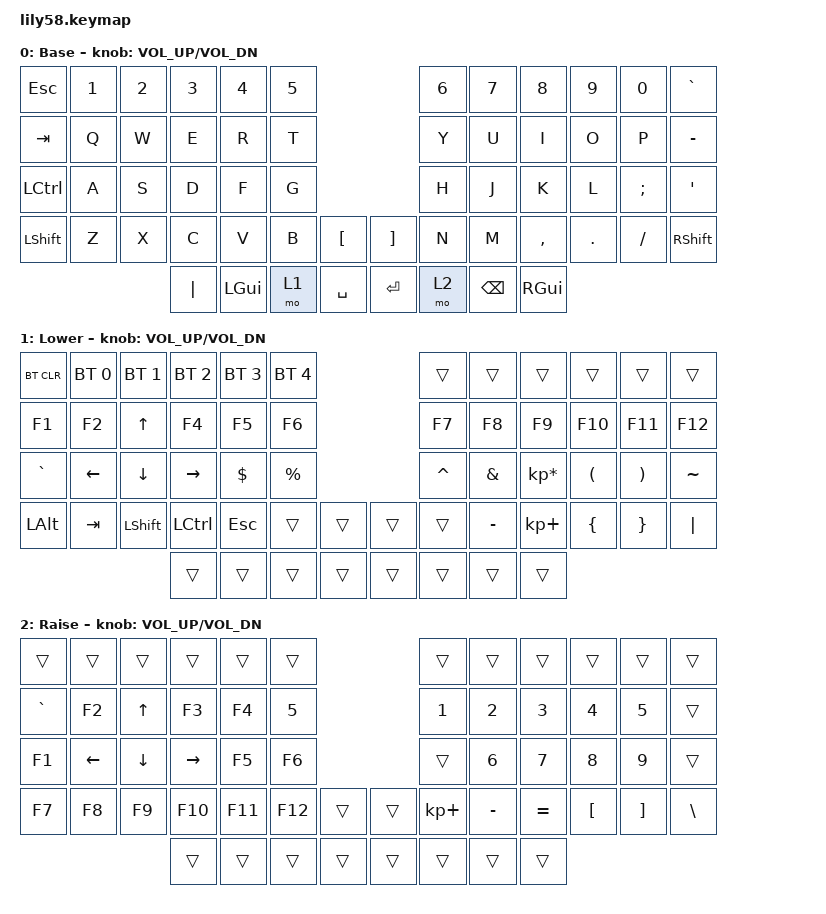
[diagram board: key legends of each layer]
/*
 * Copyright (c) 2020 The ZMK Contributors
 *
 * SPDX-License-Identifier: MIT
 */

#include <behaviors.dtsi>
#include <dt-bindings/zmk/bt.h>
#include <dt-bindings/zmk/keys.h>

/ {
    keymap {
        compatible = "zmk,keymap";

        default_layer {
            // ------------------------------------------------------------------------------------------------------------
            // |  ESC  |  1  |  2  |  3   |  4   |  5   |                   |  6   |  7    |  8    |  9   |   0   |   `   |
            // |  TAB  |  Q  |  W  |  E   |  R   |  T   |                   |  Y   |  U    |  I    |  O   |   P   |   -   |
            // |  CTRL |  A  |  S  |  D   |  F   |  G   |                   |  H   |  J    |  K    |  L   |   ;   |   '   |
            // | SHIFT |  Z  |  X  |  C   |  V   |  B   |   "["  |  |  "]"  |  N   |  M    |  ,    |  .   |   /   | SHIFT |
            //                     | ALT  | GUI  | LOWER|  SPACE |  | ENTER | RAISE| BSPC  | GUI   |

            display-name = "Base";
            bindings = <
&kp ESCAPE        &kp N1  &kp N2  &kp N3    &kp N4    &kp N5                         &kp N6  &kp N7    &kp N8     &kp N9   &kp N0    &kp GRAVE
&kp TAB           &kp Q   &kp W   &kp E     &kp R     &kp T                          &kp Y   &kp U     &kp I      &kp O    &kp P     &kp MINUS
&kp LEFT_CONTROL  &kp A   &kp S   &kp D     &kp F     &kp G                          &kp H   &kp J     &kp K      &kp L    &kp SEMI  &kp SQT
&kp LEFT_SHIFT    &kp Z   &kp X   &kp C     &kp V     &kp B   &kp LBKT     &kp RBKT  &kp N   &kp M     &kp COMMA  &kp DOT  &kp FSLH  &kp RSHFT
                                  &kp PIPE  &kp LGUI  &mo 1   &kp SPACE    &kp RET   &mo 2   &kp BSPC  &kp RGUI
            >;

            sensor-bindings = <&inc_dec_kp C_VOL_UP C_VOL_DN>;
        };

        lower_layer {
            // ------------------------------------------------------------------------------------------------------------
            // | BTCLR | BT1 | BT2 |  BT3 |  BT4 |  BT5 |                   |      |       |       |      |       |       |
            // |  F1   |  F2 |  F3 |  F4  |  F5  |  F6  |                   |  F7  |  F8   |  F9   |  F10 |  F11  |  F12  |
            // |   `   |  !  |  @  |  #   |  $   |  %   |                   |  ^   |  &    |  *    |  (   |   )   |   ~   |
            // |       |     |     |      |      |      |        |  |       |      |  _    |  +    |  {   |   }   |  "|"  |
            //                     |      |      |      |        |  |       |      |       |       |

            display-name = "Lower";
            bindings = <
&bt BT_CLR    &bt BT_SEL 0  &bt BT_SEL 1    &bt BT_SEL 2      &bt BT_SEL 3  &bt BT_SEL 4                    &trans     &trans     &trans           &trans    &trans    &trans
&kp F1        &kp F2        &kp UP          &kp F4            &kp F5        &kp F6                          &kp F7     &kp F8     &kp F9           &kp F10   &kp F11   &kp F12
&kp GRAVE     &kp LEFT      &kp DOWN        &kp RIGHT         &kp DOLLAR    &kp PRCNT                       &kp CARET  &kp AMPS   &kp KP_MULTIPLY  &kp LPAR  &kp RPAR  &kp TILDE
&kp LEFT_ALT  &kp TAB       &kp LEFT_SHIFT  &kp LEFT_CONTROL  &kp ESCAPE    &trans        &trans    &trans  &trans     &kp MINUS  &kp KP_PLUS      &kp LBRC  &kp RBRC  &kp PIPE
                                            &trans            &trans        &trans        &trans    &trans  &trans     &trans     &trans
            >;

            sensor-bindings = <&inc_dec_kp C_VOL_UP C_VOL_DN>;
        };

        raise_layer {
            // ------------------------------------------------------------------------------------------------------------
            // |       |     |     |      |      |      |                   |      |       |       |      |       |       |
            // |   `   |  1  |  2  |  3   |  4   |  5   |                   |  6   |   7   |   8   |  9   |   0   |       |
            // |   F1  |  F2 |  F3 |  F4  |  F5  |  F6  |                   |      |   <-  |   v   |  ^   |  ->   |       |
            // |   F7  |  F8 |  F9 |  F10 |  F11 |  F12 |        |  |       |  +   |   -   |   =   |  [   |   ]   |   \   |
            //                     |      |      |      |        |  |       |      |       |       |

            display-name = "Raise";
            bindings = <
&trans     &trans    &trans    &trans     &trans   &trans                     &trans        &trans        &trans        &trans        &trans        &trans
&kp GRAVE  &kp F2    &kp UP    &kp F3     &kp F4   &kp N5                     &kp NUMBER_1  &kp NUMBER_2  &kp NUMBER_3  &kp NUMBER_4  &kp NUMBER_5  &trans
&kp F1     &kp LEFT  &kp DOWN  &kp RIGHT  &kp F5   &kp F6                     &trans        &kp NUMBER_6  &kp NUMBER_7  &kp NUMBER_8  &kp NUMBER_9  &trans
&kp F7     &kp F8    &kp F9    &kp F10    &kp F11  &kp F12  &trans    &trans  &kp KP_PLUS   &kp MINUS     &kp EQUAL     &kp LBKT      &kp RBKT      &kp BSLH
                               &trans     &trans   &trans   &trans    &trans  &trans        &trans        &trans
            >;

            sensor-bindings = <&inc_dec_kp C_VOL_UP C_VOL_DN>;
        };

        extra_1 { status = "reserved"; };

        extra_2 { status = "reserved"; };

        extra_3 { status = "reserved"; };
    };
};
